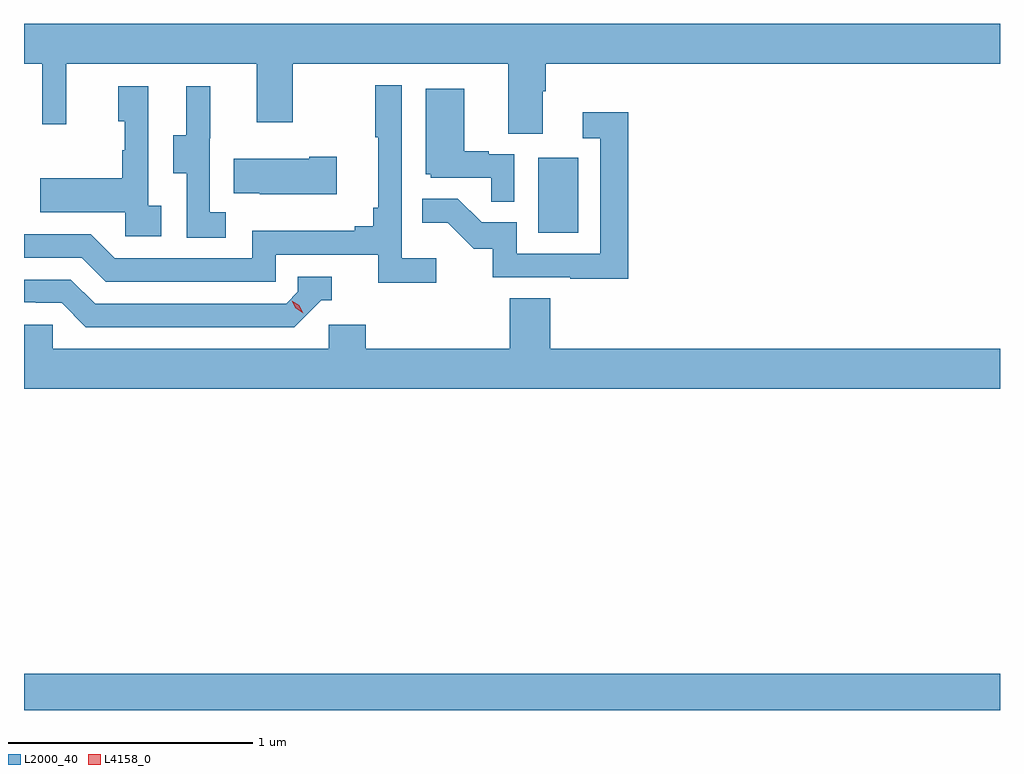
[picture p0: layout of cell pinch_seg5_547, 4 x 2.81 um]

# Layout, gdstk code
import gdstk
lib = gdstk.Library(unit=1e-6, precision=1e-09)
def R(c, l, rs):  # rectangles x0, y0, x1, y1
    for r in rs: c.add(gdstk.rectangle(r[:2], r[2:], *l))
def P(c, l, *ps):  # polygons
    for p in ps: c.add(gdstk.Polygon(p, *l))
L2000_40 = (2000, 40)
L4158_0 = (4158, 0)

pinch_seg5_547 = lib.new_cell('pinch_seg5_547')
R(pinch_seg5_547, L2000_40, [(960.456,832.799,964.456,832.948), (962.564,834.756,962.728,835.063)])
P(pinch_seg5_547, L2000_40, [(962.581,835.336),(962.594,835.336),(962.594,835.448),(964.456,835.448),(964.456,835.612),(960.456,835.612),(960.456,835.448),(960.531,835.448),(960.531,835.2),(960.629,835.2),(960.629,835.448),(961.409,835.448),(961.409,835.209),(961.557,835.209),(961.557,835.448),(962.441,835.448),(962.441,835.162),(962.581,835.162)],
  [(962.146,834.652),(962.004,834.652),(962.004,835.36),(961.896,835.36),(961.896,835.147),(961.907,835.147),(961.907,834.859),(961.888,834.859),(961.888,834.782),(961.811,834.782),(961.811,834.763),(961.392,834.763),(961.392,834.651),(960.828,834.651),(960.729,834.75),(960.456,834.75),(960.456,834.654),(960.692,834.654),(960.791,834.555),(961.488,834.555),(961.488,834.666),(961.907,834.666),(961.907,834.55),(962.146,834.55)],
  [(961.018,834.866),(960.966,834.866),(960.966,835.357),(960.842,835.357),(960.842,835.212),(960.868,835.212),(960.868,835.094),(960.858,835.094),(960.858,834.979),(960.523,834.979),(960.523,834.839),(960.87,834.839),(960.87,834.741),(961.018,834.741)],
  [(961.282,834.839),(961.218,834.839),(961.218,835.143),(961.22,835.143),(961.22,835.357),(961.121,835.357),(961.121,835.155),(961.067,835.155),(961.067,835),(961.122,835),(961.122,834.736),(961.282,834.736)],
  [(962.466,835.077),(962.36,835.077),(962.36,835.09),(962.26,835.09),(962.26,835.345),(962.102,835.345),(962.102,834.996),(962.124,834.996),(962.124,834.981),(962.371,834.981),(962.371,834.883),(962.466,834.883)],
  [(962.933,835.249),(962.745,835.249),(962.745,835.143),(962.817,835.143),(962.817,834.669),(962.475,834.669),(962.475,834.798),(962.331,834.798),(962.233,834.896),(962.089,834.896),(962.089,834.797),(962.193,834.797),(962.3,834.69),(962.377,834.69),(962.377,834.573),(962.695,834.573),(962.695,834.568),(962.933,834.568)],
  [(961.738,835.068),(961.625,835.068),(961.625,835.06),(961.315,835.06),(961.315,834.917),(961.423,834.917),(961.423,834.914),(961.738,834.914)],
  [(961.674,834.48),(961.717,834.48),(961.717,834.576),(961.578,834.576),(961.578,834.513),(961.53,834.465),(960.747,834.465),(960.648,834.564),(960.456,834.564),(960.456,834.471),(960.504,834.471),(960.504,834.468),(960.611,834.468),(960.71,834.369),(961.563,834.369)],
  [(964.456,834.28),(962.612,834.28),(962.612,834.488),(962.447,834.488),(962.447,834.28),(961.856,834.28),(961.856,834.378),(961.704,834.378),(961.704,834.28),(960.573,834.28),(960.573,834.378),(960.456,834.378),(960.456,834.116),(964.456,834.116)])
P(pinch_seg5_547, L4158_0, [(961.6,834.426),(961.569,834.446),(961.553,834.478),(961.553,834.478),(961.554,834.478),(961.584,834.459),(961.6,834.426),(961.6,834.426)])

lib.write_gds('pinch_seg5_547.gds')
